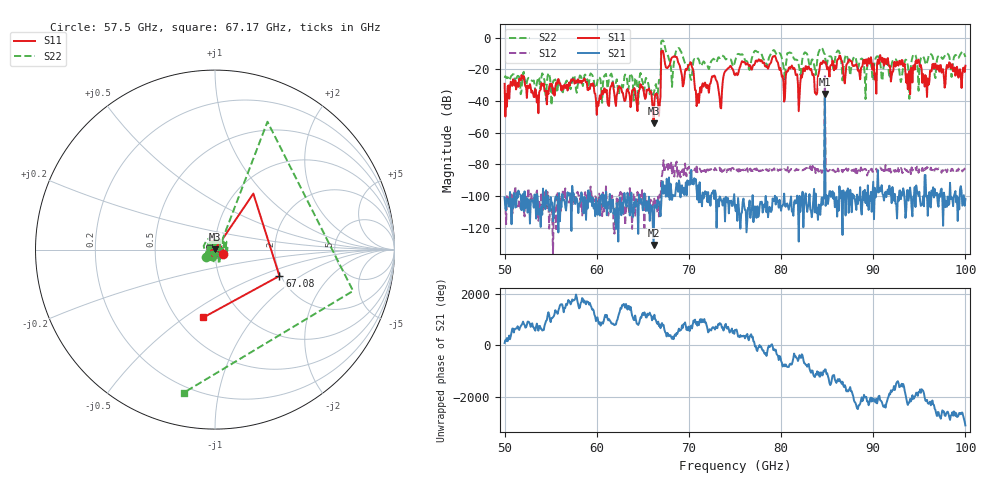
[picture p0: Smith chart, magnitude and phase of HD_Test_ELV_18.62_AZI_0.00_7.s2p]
! 11/25/2026 9:13:01 AM
! C:\ANRITSUVNA\TEMP\TEMP.S2P
! CHANNEL.1
! TR.MEASUREMENT
! RAW.DATA
# HZ S RI R 50.0
! FREQ.HZ  S11RE  S11IM  S21RE  S21IM  S12RE  S12IM  S22RE  S22IM
!; PortSelection: Port_12
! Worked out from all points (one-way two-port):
!   601 points, 50 GHz to 100 GHz, reference 50 ohm
!   highest |S21| = -35.55 dB at 84.75 GHz (marker M1); lowest = -131.0 dB at 66.17 GHz (marker M2)
!   lowest |S11| = -54.1 dB at 66.17 GHz (marker M3), VSWR 1.00, Z = 50.1 + j0.156 ohm
!   |S11| at or under -10 dB: start of sweep to 67 GHz; 67.24 GHz to end of sweep
!   |S22| runs from -42.7 to -1.8 dB; largest |S21 - S12| = 0.082
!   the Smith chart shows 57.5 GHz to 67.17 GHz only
!   S11 on the Smith chart (normalised r, x): 57.5 GHz: 1.09, -0.05; 67.08 GHz: 1.96, -0.68; 67.17 GHz: 0.67, -0.59
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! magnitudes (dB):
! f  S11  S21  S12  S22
! 50 GHz  -29.2  -100.9  -100.7  -25.3
! 57.5 GHz  -26.2  -98.4  -99.3  -23.7
! 58.42 GHz  -27.2  -100.2  -112.4  -29.0
! 60.17 GHz  -43.0  -108.0  -106.8  -24.8
! 61.67 GHz  -28.7  -106.6  -99.8  -24.5
! 66.17 GHz  -54.1  -131.0  -101.4  -35.3
! 66.67 GHz  -41.9  -104.6  -100.4  -32.1
! 67.08 GHz  -8.2  -91.1  -87.2  -1.9
! 67.17 GHz  -8.3  -90.9  -83.2  -1.8
! 70.17 GHz  -15.5  -88.8  -84.8  -25.7
! 70.92 GHz  -40.7  -102.3  -85.0  -13.3
! 75 GHz  -23.7  -106.9  -82.8  -15.0
! 79.25 GHz  -11.8  -103.1  -82.6  -7.9
! 80.25 GHz  -27.5  -104.9  -84.1  -17.7
! 83.42 GHz  -23.7  -108.8  -81.0  -13.8
! 83.83 GHz  -36.0  -110.7  -83.0  -19.5
! 84.75 GHz  -15.7  -35.6  -23.7  -10.5
! 91.67 GHz  -16.6  -98.9  -82.9  -20.5
! 93.75 GHz  -32.6  -96.3  -84.6  -17.3
! 94.83 GHz  -15.0  -98.5  -82.2  -20.3
! 95.83 GHz  -37.5  -99.8  -81.8  -15.9
! 100 GHz  -17.7  -102.0  -82.5  -12.2
